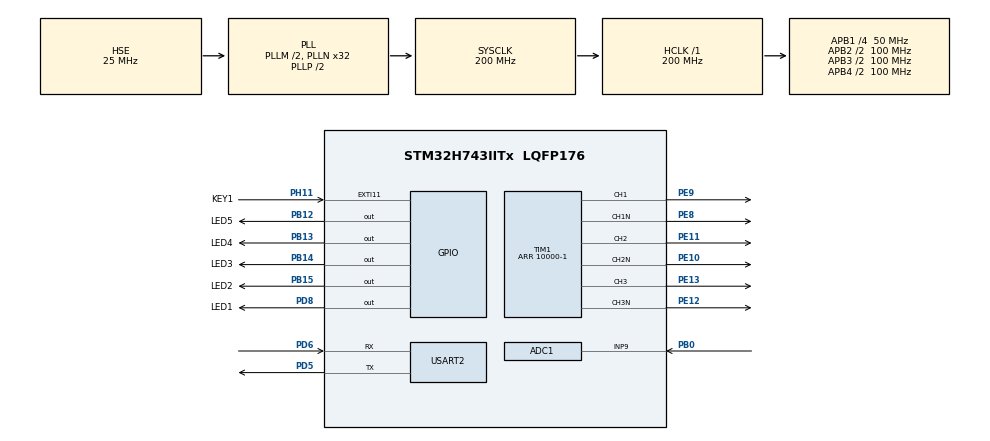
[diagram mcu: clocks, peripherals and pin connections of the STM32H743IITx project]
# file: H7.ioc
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ADC1.Channel-0\#ChannelRegularConversion=ADC_CHANNEL_9
ADC1.EnableInjectedConversion=ENABLE
ADC1.ExternalTrigInjecConv=ADC_EXTERNALTRIGINJEC_T1_CC4
ADC1.InjNumberOfConversion=2
ADC1.InjectedChannel-1\#ChannelInjectedConversion=ADC_CHANNEL_9
ADC1.InjectedChannel-2\#ChannelInjectedConversion=ADC_CHANNEL_9
ADC1.InjectedOffsetNumber-1\#ChannelInjectedConversion=ADC_OFFSET_NONE
ADC1.InjectedOffsetNumber-2\#ChannelInjectedConversion=ADC_OFFSET_NONE
ADC1.InjectedOffsetSaturation-1\#ChannelInjectedConversion=DISABLE
ADC1.InjectedOffsetSaturation-2\#ChannelInjectedConversion=DISABLE
ADC1.InjectedOffsetSignedSaturation-1\#ChannelInjectedConversion=DISABLE
ADC1.InjectedOffsetSignedSaturation-2\#ChannelInjectedConversion=DISABLE
ADC1.InjectedRank-1\#ChannelInjectedConversion=1
ADC1.InjectedRank-2\#ChannelInjectedConversion=2
ADC1.InjectedSamplingTime-1\#ChannelInjectedConversion=ADC_SAMPLETIME_1CYCLE_5
ADC1.InjectedSamplingTime-2\#ChannelInjectedConversion=ADC_SAMPLETIME_1CYCLE_5
ADC1.NbrOfConversionFlag=1
ADC1.OffsetNumber-0\#ChannelRegularConversion=ADC_OFFSET_NONE
ADC1.OffsetSignedSaturation-0\#ChannelRegularConversion=DISABLE
ADC1.Rank-0\#ChannelRegularConversion=1
ADC1.SamplingTime-0\#ChannelRegularConversion=ADC_SAMPLETIME_1CYCLE_5
ADC1.master=1
CORTEX_M7.default_mode_Activation=1
Dma.Request0=USART2_TX
Dma.USART2_TX.0.Direction=DMA_MEMORY_TO_PERIPH
Dma.USART2_TX.0.EventEnable=DISABLE
Dma.USART2_TX.0.FIFOMode=DMA_FIFOMODE_DISABLE
Dma.USART2_TX.0.Instance=DMA1_Stream0
Dma.USART2_TX.0.MemDataAlignment=DMA_MDATAALIGN_BYTE
Dma.USART2_TX.0.MemInc=DMA_MINC_ENABLE
Dma.USART2_TX.0.Mode=DMA_NORMAL
Dma.USART2_TX.0.PeriphDataAlignment=DMA_PDATAALIGN_BYTE
Dma.USART2_TX.0.PeriphInc=DMA_PINC_DISABLE
Dma.USART2_TX.0.Polarity=HAL_DMAMUX_REQ_GEN_RISING
Dma.USART2_TX.0.Priority=DMA_PRIORITY_LOW
Dma.USART2_TX.0.RequestNumber=1
Dma.USART2_TX.0.SignalID=NONE
Dma.USART2_TX.0.SyncEnable=DISABLE
Dma.USART2_TX.0.SyncPolarity=HAL_DMAMUX_SYNC_NO_EVENT
Dma.USART2_TX.0.SyncRequestNumber=1
Dma.USART2_TX.0.SyncSignalID=NONE
Mcu.Family=STM32H7
Mcu.Name=STM32H743IITx
Mcu.Package=LQFP176
NVIC.ADC_IRQn=true\:0\:0\:false\:false\:true\:true\:true\:true
NVIC.DMA1_Stream0_IRQn=true\:0\:0\:false\:false\:true\:false\:true\:true
NVIC.EXTI15_10_IRQn=true\:0\:0\:false\:false\:true\:true\:true\:true
NVIC.PriorityGroup=NVIC_PRIORITYGROUP_4
NVIC.USART2_IRQn=true\:0\:0\:false\:false\:true\:true\:true\:true
PA13\ (JTMS/SWDIO).Mode=Serial_Wire
PA13\ (JTMS/SWDIO).Signal=DEBUG_JTMS-SWDIO
PA14\ (JTCK/SWCLK).Mode=Serial_Wire
PA14\ (JTCK/SWCLK).Signal=DEBUG_JTCK-SWCLK
PB0.Signal=ADCx_INP9
PB12.GPIO_Label=LED5
PB12.Signal=GPIO_Output
PB13.GPIO_Label=LED4
PB13.Signal=GPIO_Output
PB14.GPIO_Label=LED3
PB14.Signal=GPIO_Output
PB15.GPIO_Label=LED2
PB15.Signal=GPIO_Output
PD5.Mode=Asynchronous
PD5.Signal=USART2_TX
PD6.Mode=Asynchronous
PD6.Signal=USART2_RX
PD8.GPIO_Label=LED1
PD8.Signal=GPIO_Output
PE10.Mode=PWM Generation2 CH2 CH2N
PE10.Signal=TIM1_CH2N
PE11.Signal=S_TIM1_CH2
PE12.Mode=PWM Generation3 CH3 CH3N
PE12.Signal=TIM1_CH3N
PE13.Signal=S_TIM1_CH3
PE8.Mode=PWM Generation1 CH1 CH1N
PE8.Signal=TIM1_CH1N
PE9.Signal=S_TIM1_CH1
PH0-OSC_IN\ (PH0).Mode=HSE-External-Oscillator
PH0-OSC_IN\ (PH0).Signal=RCC_OSC_IN
PH1-OSC_OUT\ (PH1).Mode=HSE-External-Oscillator
PH1-OSC_OUT\ (PH1).Signal=RCC_OSC_OUT
PH11.GPIO_Label=KEY1
PH11.GPIO_ModeDefaultEXTI=GPIO_MODE_IT_FALLING
PH11.Signal=GPXTI11
ProjectManager.HeapSize=0x200
ProjectManager.StackSize=0x400
ProjectManager.TargetToolchain=MDK-ARM V5.32
RCC.ADCFreq_Value=75000000
RCC.APB1Freq_Value=50000000
RCC.APB2Freq_Value=100000000
RCC.APB3Freq_Value=100000000
RCC.APB4Freq_Value=100000000
RCC.CortexFreq_Value=200000000
RCC.D1PPRE=RCC_APB3_DIV2
RCC.D2PPRE1=RCC_APB1_DIV4
RCC.D2PPRE2=RCC_APB2_DIV2
RCC.D3PPRE=RCC_APB4_DIV2
RCC.DIVM1=2
RCC.DIVM2=2
RCC.DIVN1=32
RCC.DIVN2=12
RCC.DIVR1=10
RCC.HCLKFreq_Value=200000000
RCC.PLL2FRACN=0
RCC.PLL2_VCI_Range-AdvancedSettings=RCC_PLL2VCIRANGE_1
RCC.PLL2_VCO_SEL-AdvancedSettings=RCC_PLL2VCOMEDIUM
RCC.PLL3FRACN=0
RCC.PLL3_VCI_Range-AdvancedSettings=RCC_PLL3VCIRANGE_0
RCC.PLL3_VCO_SEL-AdvancedSettings=RCC_PLL3VCOMEDIUM
RCC.PLLFRACN=0
RCC.PLLSourceVirtual=RCC_PLLSOURCE_HSE
RCC.SYSCLKFreq_VALUE=200000000
RCC.SYSCLKSource=RCC_SYSCLKSOURCE_PLLCLK
RCC.USBFreq_Value=200000000
SH.ADCx_INP9.0=ADC1_INP9,IN9-Single-Ended
SH.S_TIM1_CH1.0=TIM1_CH1,PWM Generation1 CH1 CH1N
SH.S_TIM1_CH2.0=TIM1_CH2,PWM Generation2 CH2 CH2N
SH.S_TIM1_CH3.0=TIM1_CH3,PWM Generation3 CH3 CH3N
TIM1.Channel-PWM\ Generation1\ CH1\ CH1N=TIM_CHANNEL_1
TIM1.Channel-PWM\ Generation2\ CH2\ CH2N=TIM_CHANNEL_2
TIM1.Channel-PWM\ Generation3\ CH3\ CH3N=TIM_CHANNEL_3
TIM1.Channel-PWM\ Generation4\ No\ Output=TIM_CHANNEL_4
TIM1.ClockDivision=TIM_CLOCKDIVISION_DIV2
TIM1.CounterMode=TIM_COUNTERMODE_CENTERALIGNED1
TIM1.DeadTime=100
TIM1.OCMode_PWM-PWM\ Generation4\ No\ Output=TIM_OCMODE_PWM2
TIM1.Period=10000-1
TIM1.Pulse-PWM\ Generation1\ CH1\ CH1N=5000
TIM1.Pulse-PWM\ Generation2\ CH2\ CH2N=5000
TIM1.Pulse-PWM\ Generation3\ CH3\ CH3N=5000
TIM1.Pulse-PWM\ Generation4\ No\ Output=10000-2
TIM1.RepetitionCounter=1
TIM1.TIM_MasterOutputTrigger=TIM_TRGO_OC4REF
USART2.VirtualMode-Asynchronous=VM_ASYNC
VP_MEMORYMAP_VS_MEMORYMAP.Mode=CurAppReg
VP_TIM1_VS_ClockSourceINT.Mode=Internal
VP_TIM1_VS_no_output4.Mode=PWM Generation4 No Output
board=custom

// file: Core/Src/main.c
/* USER CODE BEGIN Header */
/**
  ******************************************************************************
  * @file           : main.c
  * @brief          : Main program body
  ******************************************************************************
  * @attention
  *
  * Copyright (c) 2024 STMicroelectronics.
  * All rights reserved.
  *
  * This software is licensed under terms that can be found in the LICENSE file
  * in the root directory of this software component.
  * If no LICENSE file comes with this software, it is provided AS-IS.
  *
  ******************************************************************************
  */
/* USER CODE END Header */
#include "main.h"
#include "adc.h"
#include "dma.h"
#include "memorymap.h"
#include "tim.h"
#include "usart.h"
#include "gpio.h"
#include "spi.h"
#include "bsp_DRV8303.h"

/* USER CODE BEGIN Includes */
#include <stdio.h>
#include <string.h>
#include "FOC_Model.h"
/* USER CODE END Includes */

/* USER CODE BEGIN PM */
//float load_data[5];
static uint8_t tempData[24] = {0,0,0,0,0,0,0,0,0,0,0,0,0,0,0,0,0,0,0,0,0,0,0x80,0x7F};
float temp_data[4];
/* USER CODE END PM */

void SystemClock_Config(void);
static void MPU_Config(void);

int main(void)
{

  /* MPU Configuration--------------------------------------------------------*/
  MPU_Config();

  /* MCU Configuration--------------------------------------------------------*/

  /* Reset of all peripherals, Initializes the Flash interface and the Systick. */
  HAL_Init();

  /* Configure the system clock */
  SystemClock_Config();

  /* Initialize all configured peripherals */
  MX_GPIO_Init();
  MX_DMA_Init();
  MX_USART2_UART_Init();
  MX_ADC1_Init();
  MX_TIM1_Init();
	DRV8303_Init();
  /* USER CODE BEGIN 2 */
	HAL_TIM_Base_Start(&htim1);
	HAL_TIM_PWM_Start( &htim1, TIM_CHANNEL_4);
	HAL_ADCEx_InjectedStart_IT(&hadc1);
	FOC_Model_initialize();

  /* USER CODE END 2 */

  /* Infinite loop */
  while (1)
  {
//		HAL_GPIO_TogglePin(LED3_GPIO_Port,LED5_Pin);
    /* USER CODE BEGIN 3 */

//			load_data[0] = 1;
//			load_data[1] = 2;
//			load_data[2] = 3;
//			load_data[3] = 4;
//			load_data[4] = 5;
//			memcpy(tempData, (uint8_t *)&load_data, sizeof(load_data));
//			HAL_UART_Transmit_DMA(&huart2,(uint8_t *)tempData,6*4);

  }
  /* USER CODE END 3 */
}

void SystemClock_Config(void)
{
  RCC_OscInitTypeDef RCC_OscInitStruct = {0};
  RCC_ClkInitTypeDef RCC_ClkInitStruct = {0};

  /** Supply configuration update enable
  */
  HAL_PWREx_ConfigSupply(PWR_LDO_SUPPLY);

  /** Configure the main internal regulator output voltage
  */
  __HAL_PWR_VOLTAGESCALING_CONFIG(PWR_REGULATOR_VOLTAGE_SCALE3);

  while(!__HAL_PWR_GET_FLAG(PWR_FLAG_VOSRDY)) {}

  /** Initializes the RCC Oscillators according to the specified parameters
  * in the RCC_OscInitTypeDef structure.
  */
  RCC_OscInitStruct.OscillatorType = RCC_OSCILLATORTYPE_HSE;
  RCC_OscInitStruct.HSEState = RCC_HSE_ON;
  RCC_OscInitStruct.PLL.PLLState = RCC_PLL_ON;
  RCC_OscInitStruct.PLL.PLLSource = RCC_PLLSOURCE_HSE;
  RCC_OscInitStruct.PLL.PLLM = 2;
  RCC_OscInitStruct.PLL.PLLN = 32;
  RCC_OscInitStruct.PLL.PLLP = 2;
  RCC_OscInitStruct.PLL.PLLQ = 2;
  RCC_OscInitStruct.PLL.PLLR = 10;
  RCC_OscInitStruct.PLL.PLLRGE = RCC_PLL1VCIRANGE_3;
  RCC_OscInitStruct.PLL.PLLVCOSEL = RCC_PLL1VCOWIDE;
  RCC_OscInitStruct.PLL.PLLFRACN = 0;
  if (HAL_RCC_OscConfig(&RCC_OscInitStruct) != HAL_OK)
  {
    Error_Handler();
  }

  /** Initializes the CPU, AHB and APB buses clocks
  */
  RCC_ClkInitStruct.ClockType = RCC_CLOCKTYPE_HCLK|RCC_CLOCKTYPE_SYSCLK
                              |RCC_CLOCKTYPE_PCLK1|RCC_CLOCKTYPE_PCLK2
                              |RCC_CLOCKTYPE_D3PCLK1|RCC_CLOCKTYPE_D1PCLK1;
  RCC_ClkInitStruct.SYSCLKSource = RCC_SYSCLKSOURCE_PLLCLK;
  RCC_ClkInitStruct.SYSCLKDivider = RCC_SYSCLK_DIV1;
  RCC_ClkInitStruct.AHBCLKDivider = RCC_HCLK_DIV1;
  RCC_ClkInitStruct.APB3CLKDivider = RCC_APB3_DIV2;
  RCC_ClkInitStruct.APB1CLKDivider = RCC_APB1_DIV4;
  RCC_ClkInitStruct.APB2CLKDivider = RCC_APB2_DIV2;
  RCC_ClkInitStruct.APB4CLKDivider = RCC_APB4_DIV2;

  if (HAL_RCC_ClockConfig(&RCC_ClkInitStruct, FLASH_LATENCY_4) != HAL_OK)
  {
    Error_Handler();
  }
}

/* USER CODE BEGIN 4 */

void HAL_GPIO_EXTI_Callback(uint16_t GPIO_Pin)
{
	static uint8_t Motor_state=0;
  /* Prevent unused argument(s) compilation warning */
  UNUSED(GPIO_Pin);
//	if(KEY1_Pin == GPIO_Pin)
//	{
//		HAL_GPIO_TogglePin(LED0_GPIO_Port,LED0_Pin);
//		HAL_GPIO_TogglePin(LED1_GPIO_Port,LED1_Pin);
//		HAL_GPIO_TogglePin(LED2_GPIO_Port,LED2_Pin);
//		HAL_GPIO_TogglePin(LED3_GPIO_Port,LED3_Pin);
//

//	}
//
//
//
//	if(KEY2_Pin == GPIO_Pin)
//	{
//		HAL_GPIO_TogglePin(LED0_GPIO_Port,LED0_Pin);
//		HAL_GPIO_TogglePin(LED1_GPIO_Port,LED1_Pin);

//	}
//	if(KEY3_Pin == GPIO_Pin)
//	{
//		HAL_GPIO_TogglePin(LED0_GPIO_Port,LED0_Pin);
//		HAL_GPIO_TogglePin(LED1_GPIO_Port,LED1_Pin);

//	}
//
//		if(KEY4_Pin == GPIO_Pin)
//	{
//		HAL_GPIO_TogglePin(LED0_GPIO_Port,LED0_Pin);
//		HAL_GPIO_TogglePin(LED1_GPIO_Port,LED1_Pin);

//	}

		if(KEY1_Pin == GPIO_Pin)
	{

		HAL_GPIO_TogglePin(LED3_GPIO_Port,LED5_Pin);

		Motor_state = ~Motor_state;
		if(0 == Motor_state)
		{
			rtU.MotorOnOff = 0.0f;
			HAL_TIM_PWM_Stop( &htim1, TIM_CHANNEL_1);
			HAL_TIM_PWM_Stop( &htim1, TIM_CHANNEL_2);
			HAL_TIM_PWM_Stop( &htim1, TIM_CHANNEL_3);
			HAL_TIMEx_PWMN_Stop( &htim1, TIM_CHANNEL_1);
			HAL_TIMEx_PWMN_Stop( &htim1, TIM_CHANNEL_2);
			HAL_TIMEx_PWMN_Stop( &htim1, TIM_CHANNEL_3);
		}
		else
		{
			rtU.MotorOnOff = 1.0f;
			HAL_TIM_PWM_Start( &htim1, TIM_CHANNEL_1);
			HAL_TIM_PWM_Start( &htim1, TIM_CHANNEL_2);
			HAL_TIM_PWM_Start( &htim1, TIM_CHANNEL_3);
			HAL_TIMEx_PWMN_Start( &htim1, TIM_CHANNEL_1);
			HAL_TIMEx_PWMN_Start( &htim1, TIM_CHANNEL_2);
			HAL_TIMEx_PWMN_Start( &htim1, TIM_CHANNEL_3);
		}
	}
}

void HAL_ADCEx_InjectedConvCpltCallback(ADC_HandleTypeDef *hadc)
{
	static uint8_t cnt;
	static uint16_t ADC_offset, count;
	static float adc1_in1,adc1_in2,adc1_in3,IA_Offset,IB_Offset,IC_Offset;
  /* Prevent unused argument(s) compilation warning */
  UNUSED(hadc);

	if(hadc == &hadc1)
	{
		if(ADC_offset == 0)
		{

			cnt++;
			adc1_in1 = hadc1.Instance->JDR1;
			adc1_in2 = hadc1.Instance->JDR2;
			IA_Offset += adc1_in1;
			IB_Offset += adc1_in2;
			if(cnt >= 10)
			{
				ADC_offset = 1;
				IA_Offset = IA_Offset/10;
				IB_Offset = IB_Offset/10;
			}
		}
		else
		{

			rtU.VDC =24;
//			rtU.MotorOnOff = 1;

//			if(state==1)
//			{
//				__HAL_TIM_SET_COUNTER(&htim2,250);
//			}
//			counter_value = __HAL_TIM_GetCounter(&htim2);
//			encode_theta = counter_value/3999*2*PI*Pn;
//
//			if(6*PI <= encode_theta && encode_theta < 8*PI)
//			{
//				encode_theta -= 6.0f*PI;
//			}
//			else if(4*PI <= encode_theta && encode_theta < 6*PI)
//			{
//				encode_theta -= 4.0f*PI;
//			}
//			else if(2*PI <= encode_theta && encode_theta < 4*PI)
//			{
//				encode_theta -= 2.0f*PI;
//			}
//			else if(0 <= encode_theta && encode_theta < 2*PI)
//			{
//				encode_theta = encode_theta;
//			}
//
//			encode_wm = (encode_theta - encode_theta_last)/0.0001*30/PI/Pn;
//			if(encode_wm<0) encode_wm=(-1)*encode_wm;
//			encode_theta_last = encode_theta;

//
//			rtU.Wm=encode_wm;
//			rtU.Theta=encode_theta;

//			if(MID_parameter.state==2)
//			{
//				__HAL_TIM_SET_COUNTER(&htim2,250);
//			}
//			counter_value = __HAL_TIM_GetCounter(&htim2);
//			encode_theta = counter_value/3999*2*PI*JIE_MEI_KANG_PARAMETER.Pn;
//
//			if(6*PI <= encode_theta && encode_theta < 8*PI)
//			{
//				encode_theta -= 6.0f*PI;
//			}
//			else if(4*PI <= encode_theta && encode_theta < 6*PI)
//			{
//				encode_theta -= 4.0f*PI;
//			}
//			else if(2*PI <= encode_theta && encode_theta < 4*PI)
//			{
//				encode_theta -= 2.0f*PI;
//			}
//			else if(0 <= encode_theta && encode_theta < 2*PI)
//			{
//				encode_theta = encode_theta;
//			}
//
//			encode_wm = (encode_theta - encode_theta_last)/0.0001*30/PI/JIE_MEI_KANG_PARAMETER.Pn;
//			if(encode_wm<0) encode_wm=(-1)*encode_wm;
//			encode_theta_last = encode_theta;

//
//			rtU.Wm=encode_wm;
//			rtU.Theta=encode_theta;

//			rtU.Wm=MID_parameter.wm;
//			rtU.Theta=MID_parameter.THETA;

//
////			rtU.Wm=rtY.ekm_m;
////			rtU.Theta=rtY.ekm_theta;

//
//			adc1_in1 = hadc3.Instance->JDR1;
//			adc1_in2 = hadc3.Instance->JDR2;
//			rtU.ia = -(adc1_in1 - IA_Offset)*0.00100708f;
//			rtU.ib = -(adc1_in2 - IA_Offset)*0.00100708f;
//			rtU.ic = ((adc1_in1 - IA_Offset)*0.00100708f + (adc1_in2 - IB_Offset)*0.00100708f);

			FOC_Model_step();
			TIM1->CCR1 = rtY.Tcmp1;
			TIM1->CCR2 = rtY.Tcmp2;
			TIM1->CCR3 = rtY.Tcmp3;

//			TIM1->CCR1 = 2100;
//			TIM1->CCR2 = 2000;
//			TIM1->CCR3 = 1900;

//
//
//			load_data[0] = MID_parameter.wm;
//			load_data[1] = encode_wm;
//			load_data[2] = ADC_VBUS;
//			load_data[3] = counter_value;
//			load_data[4] = drv8303state1read();
//			memcpy(tempData, (uint8_t *)&load_data, sizeof(load_data));
//			HAL_UART_Transmit_DMA(&huart1,(uint8_t *)tempData,6*4);

count++;
if(count >=10000){
			HAL_GPIO_TogglePin(LED1_GPIO_Port,LED1_Pin);
	count = 0;
}

		}
	}

}

void HAL_UART_TxCpltCallback(UART_HandleTypeDef *huart)
{
  /* Prevent unused argument(s) compilation warning */

	if(huart->Instance == USART2)
  huart->gState = HAL_UART_STATE_READY;//huart1传输完成 变为准备
  /* NOTE : This function should not be modified, when the callback is needed,
            the HAL_UART_TxCpltCallback can be implemented in the user file.
   */
}
/* USER CODE END 4 */

 /* MPU Configuration */

void MPU_Config(void)
{
  MPU_Region_InitTypeDef MPU_InitStruct = {0};

  /* Disables the MPU */
  HAL_MPU_Disable();

  /** Initializes and configures the Region and the memory to be protected
  */
  MPU_InitStruct.Enable = MPU_REGION_ENABLE;
  MPU_InitStruct.Number = MPU_REGION_NUMBER0;
  MPU_InitStruct.BaseAddress = 0x0;
  MPU_InitStruct.Size = MPU_REGION_SIZE_4GB;
  MPU_InitStruct.SubRegionDisable = 0x87;
  MPU_InitStruct.TypeExtField = MPU_TEX_LEVEL0;
  MPU_InitStruct.AccessPermission = MPU_REGION_NO_ACCESS;
  MPU_InitStruct.DisableExec = MPU_INSTRUCTION_ACCESS_DISABLE;
  MPU_InitStruct.IsShareable = MPU_ACCESS_SHAREABLE;
  MPU_InitStruct.IsCacheable = MPU_ACCESS_NOT_CACHEABLE;
  MPU_InitStruct.IsBufferable = MPU_ACCESS_NOT_BUFFERABLE;

  HAL_MPU_ConfigRegion(&MPU_InitStruct);
  /* Enables the MPU */
  HAL_MPU_Enable(MPU_PRIVILEGED_DEFAULT);

}

void Error_Handler(void)
{
  __disable_irq();
  while (1)
  {
  }
}
